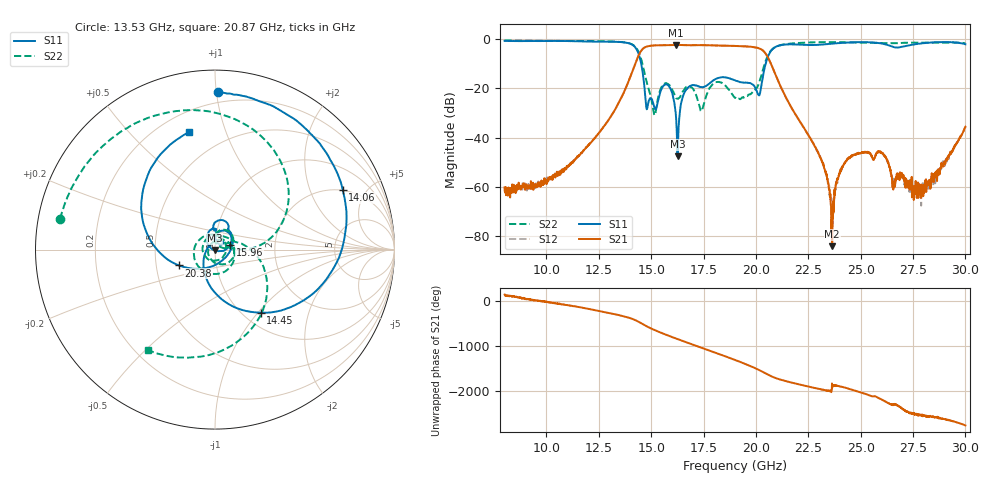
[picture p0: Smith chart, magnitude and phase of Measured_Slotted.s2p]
!Agilent Technologies,N5247A,US51370446,A.10.00.00
!Agilent N5247A: A.10.00.00
!Date: Tuesday, October 16, 2018 05:21:46
!Correction: S11(Full 2 Port(1,2))
!S21(Full 2 Port(1,2))
!S12(Full 2 Port(1,2))
!S22(Full 2 Port(1,2))
!S2P File: Measurements: S11, S21, S12, S22:
# Hz S  RI  R 50
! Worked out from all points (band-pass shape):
!   2001 points, 8 GHz to 30 GHz, reference 50 ohm
!   highest |S21| = -2.34 dB at 16.16 GHz (marker M1); lowest = -84.0 dB at 23.64 GHz (marker M2)
!   |S21| within 3 dB of the highest: 14.47 GHz to 20.42 GHz (5.946 GHz wide, 34.1 % of centre)
!   lowest |S11| = -47.6 dB at 16.26 GHz (marker M3), VSWR 1.01, Z = 49.8 - j0.353 ohm
!   |S11| at or under -10 dB: 14.52 GHz to 20.46 GHz (5.939 GHz wide, 34 % of centre)
!   |S22| runs from -30.8 to -0.5 dB; largest |S21 - S12| = 0.0035
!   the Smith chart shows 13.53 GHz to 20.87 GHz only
!   S11 on the Smith chart (normalised r, x): 13.53 GHz: 0.13, +1.01; 14.06 GHz: 1.98, +3.43; 14.45 GHz: 1.19, -1.03; 15.96 GHz: 1.18, +0.06; 20.38 GHz: 0.66, -0.12; 20.87 GHz: 0.32, +0.75
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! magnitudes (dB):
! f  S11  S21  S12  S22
! 8 GHz  -0.7  -60.1  -61.7  -0.5
! 11.67 GHz  -0.9  -46.1  -46.0  -0.7
! 13.53 GHz  -1.1  -24.4  -24.5  -1.1
! 14.06 GHz  -2.1  -14.0  -14.0  -2.0
! 14.45 GHz  -7.3  -5.8  -5.8  -6.1
! 14.8 GHz  -28.3  -2.9  -3.0  -17.9
! 15.34 GHz  -24.7  -2.5  -2.5  -23.4
! 15.96 GHz  -21.0  -2.4  -2.4  -19.9
! 16.16 GHz  -29.5  -2.3  -2.3  -23.5
! 16.26 GHz  -47.6  -2.3  -2.3  -24.2
! 16.78 GHz  -19.5  -2.4  -2.4  -19.1
! 17.38 GHz  -19.4  -2.4  -2.4  -29.3
! 19 GHz  -16.7  -2.7  -2.7  -23.7
! 20.12 GHz  -22.6  -3.6  -3.6  -18.4
! 20.38 GHz  -13.2  -4.9  -4.9  -11.1
! 20.87 GHz  -3.5  -13.1  -13.1  -3.4
! 22.67 GHz  -2.3  -41.4  -41.4  -1.3
! 23.64 GHz  -1.8  -84.0  -76.5  -1.2
! 24.47 GHz  -1.3  -47.9  -48.3  -1.3
! 26.34 GHz  -2.5  -50.6  -51.1  -1.6
! 27.95 GHz  -1.7  -60.2  -58.5  -1.4
! 30 GHz  -2.1  -35.5  -35.6  -1.6
